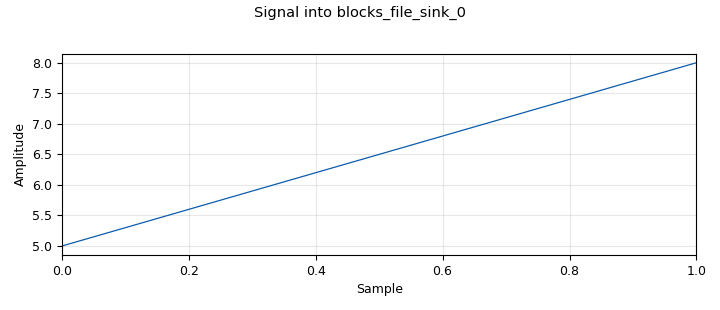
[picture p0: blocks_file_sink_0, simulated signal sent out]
<?xml version='1.0' encoding='utf-8'?>
<?grc format='1' created='3.7.10'?>
<flow_graph>
<block>
<key>options</key>
<param><key>id</key><value>top_block</value></param>
<param><key>generate_options</key><value>qt_gui</value></param>
</block>
<block>
<key>variable</key>
<param><key>id</key><value>samp_rate</value></param>
<param><key>value</key><value>300e3</value></param>
</block>
<block>
<key>analog_sig_source_x</key>
<param><key>id</key><value>analog_sig_source_x_0</value></param>
<param><key>amp</key><value>1</value></param>
<param><key>_enabled</key><value>0</value></param>
<param><key>freq</key><value>100e3</value></param>
<param><key>offset</key><value>0</value></param>
<param><key>type</key><value>float</value></param>
<param><key>samp_rate</key><value>samp_rate</value></param>
<param><key>waveform</key><value>analog.GR_COS_WAVE</value></param>
</block>
<block>
<key>analog_sig_source_x</key>
<param><key>id</key><value>analog_sig_source_x_0_0</value></param>
<param><key>amp</key><value>1</value></param>
<param><key>_enabled</key><value>0</value></param>
<param><key>freq</key><value>100e3</value></param>
<param><key>offset</key><value>0</value></param>
<param><key>type</key><value>float</value></param>
<param><key>samp_rate</key><value>samp_rate</value></param>
<param><key>waveform</key><value>analog.GR_SIN_WAVE</value></param>
</block>
<block>
<key>blocks_add_xx</key>
<param><key>id</key><value>blocks_add_xx_0</value></param>
<param><key>_enabled</key><value>0</value></param>
<param><key>type</key><value>float</value></param>
</block>
<block>
<key>blocks_file_sink</key>
<param><key>id</key><value>blocks_file_sink_0</value></param>
<param><key>file</key><value>/home/hanqing/gnuradio_test/pack_K_bits.txt</value></param>
<param><key>type</key><value>byte</value></param>
</block>
<block>
<key>blocks_multiply_const_vxx</key>
<param><key>id</key><value>blocks_multiply_const_vxx_0</value></param>
<param><key>const</key><value>-3</value></param>
<param><key>_enabled</key><value>0</value></param>
<param><key>type</key><value>float</value></param>
</block>
<block>
<key>blocks_pack_k_bits_bb</key>
<param><key>id</key><value>blocks_pack_k_bits_bb_0</value></param>
<param><key>k</key><value>4</value></param>
</block>
<block>
<key>blocks_vector_source_x</key>
<param><key>id</key><value>blocks_vector_source_x_0</value></param>
<param><key>type</key><value>byte</value></param>
<param><key>repeat</key><value>False</value></param>
<param><key>vector</key><value>(0,1,0,1, 0x81, 0x00, 0x00, 0x00)</value></param>
</block>
<block>
<key>blocks_vector_to_stream</key>
<param><key>id</key><value>blocks_vector_to_stream_0</value></param>
<param><key>_enabled</key><value>0</value></param>
<param><key>type</key><value>byte</value></param>
<param><key>num_items</key><value>4</value></param>
</block>
<block>
<key>qtgui_sink_x</key>
<param><key>id</key><value>qtgui_sink_x_0</value></param>
<param><key>bw</key><value>samp_rate</value></param>
<param><key>fc</key><value>0</value></param>
<param><key>freqchangevar</key><value>None</value></param>
<param><key>_enabled</key><value>0</value></param>
<param><key>fftsize</key><value>1024</value></param>
<param><key>showports</key><value>True</value></param>
<param><key>type</key><value>float</value></param>
<param><key>wintype</key><value>firdes.WIN_BLACKMAN_hARRIS</value></param>
</block>
<connection><source_block_id>analog_sig_source_x_0</source_block_id><sink_block_id>blocks_add_xx_0</sink_block_id><source_key>0</source_key><sink_key>0</sink_key></connection>
<connection><source_block_id>analog_sig_source_x_0_0</source_block_id><sink_block_id>blocks_multiply_const_vxx_0</sink_block_id><source_key>0</source_key><sink_key>0</sink_key></connection>
<connection><source_block_id>blocks_add_xx_0</source_block_id><sink_block_id>qtgui_sink_x_0</sink_block_id><source_key>0</source_key><sink_key>0</sink_key></connection>
<connection><source_block_id>blocks_multiply_const_vxx_0</source_block_id><sink_block_id>blocks_add_xx_0</sink_block_id><source_key>0</source_key><sink_key>1</sink_key></connection>
<connection><source_block_id>blocks_pack_k_bits_bb_0</source_block_id><sink_block_id>blocks_file_sink_0</sink_block_id><source_key>0</source_key><sink_key>0</sink_key></connection>
<connection><source_block_id>blocks_vector_source_x_0</source_block_id><sink_block_id>blocks_pack_k_bits_bb_0</sink_block_id><source_key>0</source_key><sink_key>0</sink_key></connection>
<connection><source_block_id>blocks_vector_source_x_0</source_block_id><sink_block_id>blocks_vector_to_stream_0</sink_block_id><source_key>0</source_key><sink_key>0</sink_key></connection>
<connection><source_block_id>blocks_vector_to_stream_0</source_block_id><sink_block_id>blocks_pack_k_bits_bb_0</sink_block_id><source_key>0</source_key><sink_key>0</sink_key></connection>
</flow_graph>
